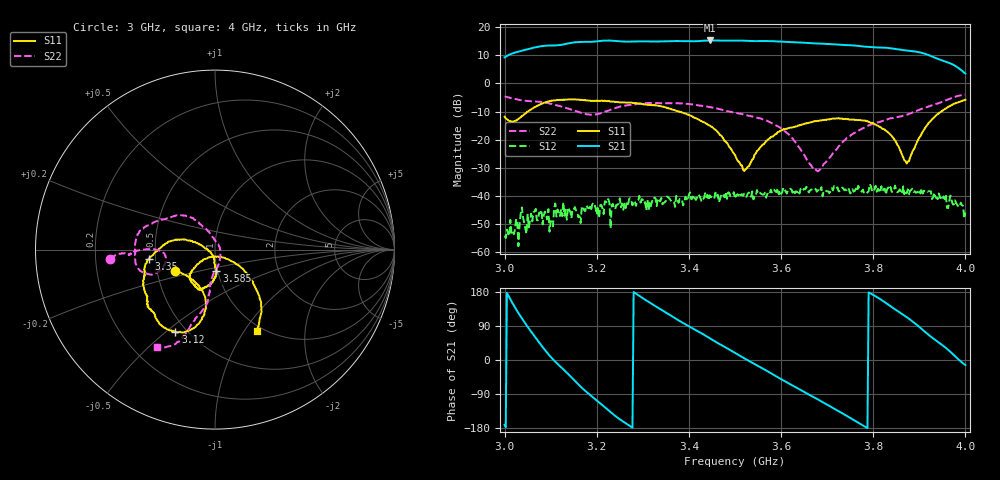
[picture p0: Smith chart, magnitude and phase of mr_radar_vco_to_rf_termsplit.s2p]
!Agilent Technologies,E8358A,US40260201,A.04.06
!Agilent E8358A: A.04.06
!Date: Saturday, February 25, 2012 16:39:21
!Correction: S11(Full 2 Port SOLT,1,2) S21(Full 2 Port SOLT,1,2) S12(Full 2 Port SOLT,1,2) S22(Full 2 Port SOLT,1,2)
!S2P File: Measurements: S11, S21, S12, S22:
# Hz S  MA  R 50
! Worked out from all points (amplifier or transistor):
!   401 points, 3 GHz to 4 GHz, reference 50 ohm
!   highest |S21| = 15.2 dB at 3.445 GHz (marker M1)
!   |S21| within 3 dB of that: 3.053 GHz to 3.847 GHz (794.7 MHz wide, 23 % of centre)
!   unconditionally stable (mu >= 1): start of sweep to end of sweep
!   at 3.165 GHz: K = 18.58, MAG = 16.4 dB, |S12| = -49.6 dB
!   at 3.5 GHz: K = 8.76, MAG = 15.7 dB, |S12| = -40.9 dB
!   at 4 GHz: K = 29.23, MAG = 7.0 dB, |S12| = -45.9 dB
!   S11 on the Smith chart (normalised r, x): 3 GHz: 0.62, -0.16; 3.12 GHz: 0.44, -0.54; 3.35 GHz: 0.46, -0.05; 3.585 GHz: 0.99, -0.24; 4 GHz: 0.93, -1.15
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3e9  0.2543 -151.9  2.899 -171.3  0.001989 67.5  0.5851 -174.7
3.0225e9  0.2164 -118.0  3.521 138.8  0.002591 22.9  0.5294 -177.5
3.0575e9  0.3441 -99.2  4.18 74.9  0.004854 -32.6  0.481 -176.7
3.09e9  0.4627 -106.4  4.665 22.6  0.004533 -66.3  0.453 -178.6
3.12e9  0.5092 -115.7  4.791 -16.1  0.00439 -92.9  0.3955 179.9
3.1675e9  0.5077 -129.5  5.436 -73.2  0.006527 -179.3  0.2989 -178.1
3.2075e9  0.488 -137.1  5.643 -114.2  0.006898 163.5  0.2928 -163.0
3.245e9  0.4656 -144.3  5.623 -152.2  0.007009 115.6  0.3744 -158.3
3.29e9  0.4383 -155.2  5.557 171.2  0.008342 88.8  0.4335 -164.1
3.335e9  0.3993 -167.3  5.542 136.4  0.008461 54.9  0.4443 -177.2
3.35e9  0.373 -172.1  5.582 125.4  0.008182 41.3  0.4445 178.5
3.3925e9  0.2912 175.2  5.603 93.8  0.009709 13.2  0.4335 167.1
3.445e9  0.1795 161.6  5.772 57.5  0.0103 -14.9  0.3796 157.5
3.5e9  0.0537 174.3  5.764 18.8  0.008981 -55.8  0.3028 143.1
3.5425e9  0.05446 -96.2  5.62 -10.6  0.01005 -86.2  0.2527 131.5
3.585e9  0.1193 -86.2  5.591 -40.1  0.01299 -107.3  0.1868 122.7
3.6675e9  0.2065 -101.5  5.156 -95.9  0.01297 -165.8  0.03241 51.7
3.7575e9  0.227 -122.2  4.706 -158.2  0.01198 145.0  0.1298 -92.9
3.835e9  0.1284 -140.6  4.222 144.1  0.01309 79.8  0.2359 -97.4
3.8875e9  0.06662 -42.0  3.703 99.6  0.0118 42.0  0.3103 -99.0
3.9275e9  0.2313 -37.5  2.999 59.4  0.008835 10.5  0.4074 -106.0
4e9  0.5128 -62.8  1.492 -13.3  0.00509 -55.5  0.6328 -120.7
